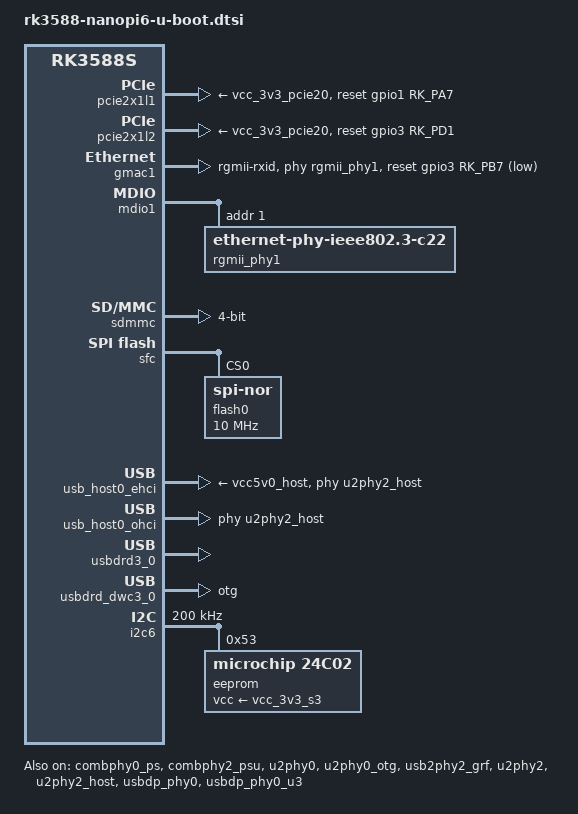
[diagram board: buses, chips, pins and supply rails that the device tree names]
// SPDX-License-Identifier: (GPL-2.0+ OR MIT)
/*
 * Copyright (c) 2023 Collabora Ltd.
 */

#include "rk3588s-u-boot.dtsi"
#include <dt-bindings/pinctrl/rockchip.h>
#include <dt-bindings/input/input.h>
#include <dt-bindings/gpio/gpio.h>

/ {
	aliases {
		mmc0 = &sdmmc;
		mmc1 = &sdhci;
		ethernet1 = &gmac1;
		serial2 = &uart2;
	};

	chosen {
		u-boot,spl-boot-order = "same-as-spl", &sdmmc, &sdhci, &flash0;
	};
};

&combphy0_ps {
	status = "okay";
};

&combphy2_psu {
	status = "okay";
};

&emmc_bus8 {
	bootph-all;
};

&emmc_clk {
	bootph-all;
};

&emmc_cmd {
	bootph-all;
};

&emmc_data_strobe {
	bootph-all;
};

&emmc_rstnout {
	bootph-all;
};

&fspim2_pins {
	bootph-all;
};

&pcie2x1l1 {
	rockchip,init-delay-ms = <100>;
	vpcie3v3-supply = <&vcc_3v3_pcie20>;
	reset-gpios = <&gpio1 RK_PA7 GPIO_ACTIVE_HIGH>;
	status = "okay";
};

&pcie2x1l2 {
	reset-gpios = <&gpio3 RK_PD1 GPIO_ACTIVE_HIGH>;
	vpcie3v3-supply = <&vcc_3v3_pcie20>;
	status = "okay";
};

&gmac1 {
    /* Use rgmii-rxid mode to disable rx delay inside Soc */
    phy-mode = "rgmii-rxid";
    clock_in_out = "output";

    snps,no-vlhash;
    snps,reset-gpio = <&gpio3 RK_PB7 GPIO_ACTIVE_LOW>;
    snps,reset-active-low;
    /* Reset time is 20ms, 100ms for rtl8211f */
    snps,reset-delays-us = <0 20000 100000>;

    pinctrl-names = "default";
    pinctrl-0 = <&gmac1_miim
             &gmac1_tx_bus2
             &gmac1_rx_bus2
             &gmac1_rgmii_clk
             &gmac1_rgmii_bus>;

    tx_delay = <0x42>;
    /* rx_delay = <0x4f>; */

    phy-handle = <&rgmii_phy1>;
    status = "okay";
};

&mdio1 {
    rgmii_phy1: phy@1 {
        compatible = "ethernet-phy-ieee802.3-c22";
        reg = <0x1>;
    };
};

&pcfg_pull_up_drv_level_2 {
	bootph-all;
};

&pcfg_pull_up {
	bootph-all;
};

&pcfg_pull_none {
	bootph-all;
};

&uart2m0_xfer {
	bootph-all;
};

&sdmmc {
	bus-width = <4>;
	status = "okay";
};

&sdmmc_bus4 {
	bootph-all;
};

&sdmmc_clk {
	bootph-all;
};

&sdmmc_cmd {
	bootph-all;
};

&sdmmc_det {
	bootph-all;
};

&sdhci {
	cap-mmc-highspeed;
	mmc-ddr-1_8v;
	mmc-hs200-1_8v;
	pinctrl-names = "default";
	pinctrl-0 = <&emmc_bus8 &emmc_clk &emmc_cmd &emmc_data_strobe &emmc_rstnout>;
};

&sfc {
	bootph-all;
	pinctrl-0 = <&fspim2_pins>;
	pinctrl-names = "default";
	status = "okay";

	flash0: flash@0 {
		bootph-all;
		compatible = "jedec,spi-nor";
		reg = <0>;
		spi-max-frequency = <10000000>;
		spi-rx-bus-width = <4>;
		spi-tx-bus-width = <1>;
	};
};

&u2phy0 {
        status = "okay";
};

&u2phy0_otg {
        status = "okay";
};

&usb2phy2_grf {
        status = "okay";
};

&u2phy2 {
        status = "okay";
};

&u2phy2_host {
	phy-supply = <&vcc5v0_host>;
	status = "okay";
};

&usb_host0_ehci {
	companion = <&usb_host0_ohci>;
	phys = <&u2phy2_host>;
	phy-names = "usb2-phy";
	vbus-supply = <&vcc5v0_host>;
	status = "okay";
};

&usb_host0_ohci {
	phys = <&u2phy2_host>;
	phy-names = "usb2-phy";
	status = "okay";
};

&usbdp_phy0 {
        status = "okay";
};

&usbdp_phy0_u3 {
        status = "okay";
};

&usbdrd3_0 {
        status = "okay";
};

&usbdrd_dwc3_0 {
        dr_mode = "otg";
        extcon = <&u2phy0>;
        status = "okay";
};

&usbhost3_0 {
        status = "disabled";
};

&usbhost_dwc3_0 {
        status = "disabled";
};

&dmac0 {
	bootph-all;
};

&i2c6 {
	clock-frequency = <200000>;
	status = "okay";
	bootph-all;

	eeprom@53 {
		bootph-all;
		compatible = "microchip,24c02", "atmel,24c02";
		reg = <0x53>;
		#address-cells = <2>;
		#size-cells = <0>;
		pagesize = <16>;
		size = <256>;
		vcc-supply=<&vcc_3v3_s3>;

		eui_48: eui-48@fa {
			bootph-all;
			reg = <0xfa 0x06>;
		};
	};
};
